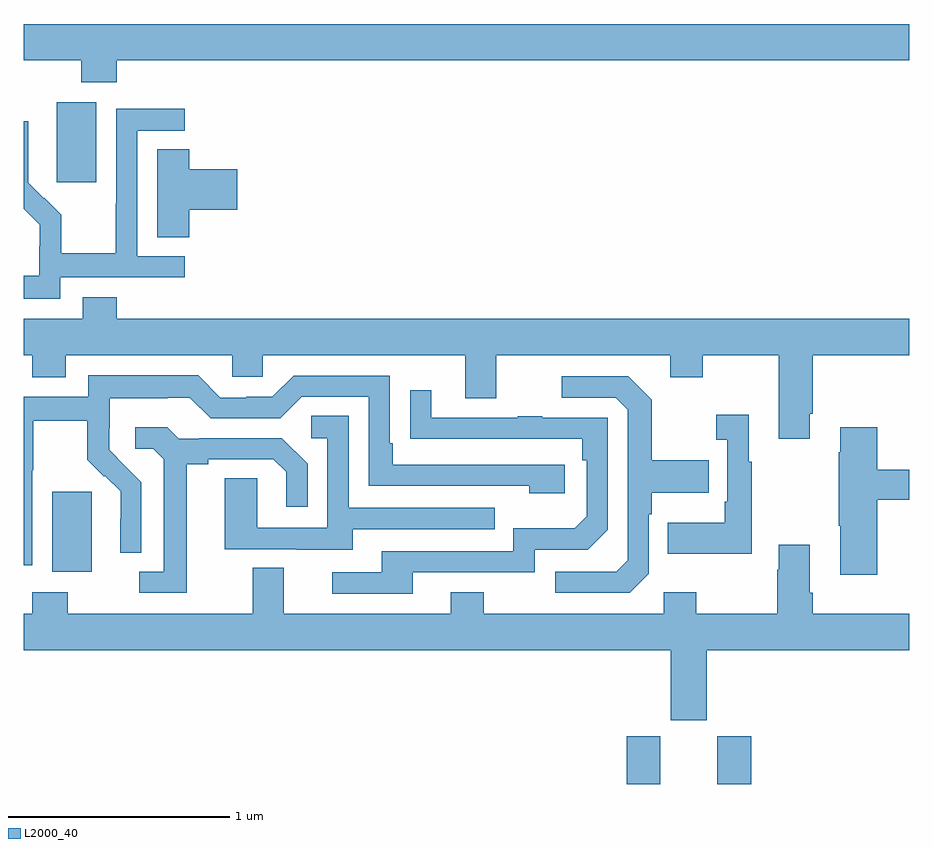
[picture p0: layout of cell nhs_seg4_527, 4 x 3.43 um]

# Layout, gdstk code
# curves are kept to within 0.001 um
import gdstk
lib = gdstk.Library(unit=1e-6, precision=1e-09)
def R(c, l, rs):  # rectangles x0, y0, x1, y1
    for r in rs: c.add(gdstk.rectangle(r[:2], r[2:], *l))
def P(c, l, *ps):  # polygons
    for p in ps: c.add(gdstk.Polygon(p, *l))
L2000_40 = (2000, 40)

nhs_seg4_527 = lib.new_cell('nhs_seg4_527')
R(nhs_seg4_527, L2000_40, [(139.724,778.9,139.876,779.115), (140.132,778.9,140.285,779.115), (137.129,779.858,137.308,780.219), (137.15,781.617,137.329,781.978)])
P(nhs_seg4_527, L2000_40, [(137.42,782.168),(141,782.168),(141,782.332),(137,782.332),(137,782.168),(137.26,782.168),(137.26,782.069),(137.42,782.069)],
  [(137.166,781.188),(137.728,781.188),(137.728,781.284),(137.514,781.284),(137.514,781.851),(137.728,781.851),(137.728,781.95),(137.418,781.95),(137.418,781.52),(137.416,781.52),(137.416,781.297),(137.171,781.297),(137.171,781.471),(137.094,781.548),(137.091,781.545),(137.021,781.616),(137.022,781.892),(137,781.892),(137,781.498),(137.072,781.426),(137.072,781.329),(137.07,781.329),(137.07,781.195),(137,781.195),(137,781.091),(137.166,781.091)],
  [(137.747,781.493),(137.965,781.493),(137.965,781.676),(137.747,781.676),(137.747,781.766),(137.603,781.766),(137.603,781.369),(137.747,781.369)],
  [(140.551,780.571),(140.564,780.571),(140.564,780.836),(141,780.836),(141,781),(137.42,781),(137.42,781.099),(137.267,781.099),(137.267,781),(137,781),(137,780.836),(137.039,780.836),(137.039,780.737),(137.191,780.737),(137.191,780.836),(137.943,780.836),(137.943,780.738),(138.081,780.738),(138.081,780.836),(138.995,780.836),(138.995,780.642),(139.135,780.642),(139.135,780.836),(139.919,780.836),(139.919,780.737),(140.067,780.737),(140.067,780.836),(140.411,780.836),(140.411,780.459),(140.551,780.459)],
  [(137.04,780.316),(137.043,780.316),(137.043,780.54),(137.287,780.54),(137.287,780.365),(137.364,780.288),(137.367,780.291),(137.438,780.221),(137.438,780.098),(137.436,780.098),(137.436,779.944),(137.532,779.944),(137.532,780.262),(137.386,780.41),(137.386,780.507),(137.388,780.507),(137.388,780.641),(137.651,780.641),(137.651,780.645),(137.751,780.645),(137.844,780.552),(138.159,780.552),(138.255,780.648),(138.558,780.648),(138.558,780.246),(139.283,780.246),(139.283,780.212),(139.444,780.212),(139.444,780.342),(138.667,780.342),(138.667,780.439),(138.654,780.439),(138.654,780.744),(138.219,780.744),(138.123,780.648),(138.005,780.648),(138.005,780.645),(137.889,780.645),(137.789,780.745),(137.292,780.745),(137.292,780.648),(137,780.648),(137,779.887),(137.04,779.887)],
  [(139.824,779.85),(139.824,780.119),(139.837,780.119),(139.837,780.215),(140.093,780.215),(140.093,780.363),(139.837,780.363),(139.837,780.635),(139.731,780.741),(139.431,780.741),(139.431,780.645),(139.674,780.645),(139.728,780.591),(139.728,779.91),(139.677,779.859),(139.401,779.859),(139.401,779.763),(139.737,779.763)],
  [(138.757,779.856),(139.308,779.856),(139.308,779.958),(139.548,779.958),(139.638,780.048),(139.638,780.555),(139.343,780.555),(139.343,780.56),(139.231,780.56),(139.231,780.555),(138.841,780.555),(138.841,780.679),(138.745,780.679),(138.745,780.46),(139.522,780.459),(139.522,780.362),(139.542,780.362),(139.542,780.108),(139.489,780.055),(139.212,780.055),(139.212,779.952),(138.617,779.952),(138.617,779.856),(138.393,779.856),(138.393,779.76),(138.757,779.76)],
  [(140.287,780.355),(140.275,780.355),(140.275,780.568),(140.127,780.568),(140.127,780.455),(140.178,780.455),(140.178,780.175),(140.166,780.175),(140.166,780.079),(139.909,780.079),(139.909,779.939),(140.287,779.939)],
  [(138.487,780.051),(139.127,780.051),(139.127,780.147),(138.468,780.147),(138.468,780.563),(138.3,780.563),(138.3,780.462),(138.372,780.462),(138.372,780.057),(138.054,780.057),(138.054,780.281),(137.909,780.281),(137.909,779.961),(138.233,779.961),(138.233,779.957),(138.487,779.957)],
  [(137.737,780.344),(137.833,780.344),(137.833,780.366),(138.128,780.366),(138.185,780.309),(138.185,780.153),(138.282,780.153),(138.282,780.346),(138.166,780.462),(137.794,780.462),(137.794,780.459),(137.7,780.459),(137.648,780.511),(137.505,780.511),(137.505,780.414),(137.586,780.414),(137.633,780.367),(137.633,779.859),(137.523,779.859),(137.523,779.763),(137.737,779.763)],
  [(140.855,780.184),(141,780.184),(141,780.32),(140.855,780.32),(140.855,780.511),(140.687,780.511),(140.687,780.398),(140.68,780.398),(140.68,780.067),(140.687,780.067),(140.687,779.844),(140.855,779.844)],
  [(140.086,779.504),(141,779.504),(141,779.668),(140.564,779.668),(140.564,779.764),(140.551,779.764),(140.551,779.98),(140.411,779.98),(140.411,779.867),(140.404,779.867),(140.404,779.668),(140.037,779.668),(140.037,779.767),(139.89,779.767),(139.89,779.668),(139.077,779.668),(139.077,779.767),(138.929,779.767),(138.929,779.668),(138.175,779.668),(138.175,779.876),(138.035,779.876),(138.035,779.668),(137.199,779.668),(137.199,779.767),(137.039,779.767),(137.039,779.668),(137,779.668),(137,779.504),(139.922,779.504),(139.922,779.187),(140.086,779.187)])

lib.write_gds('nhs_seg4_527.gds')
